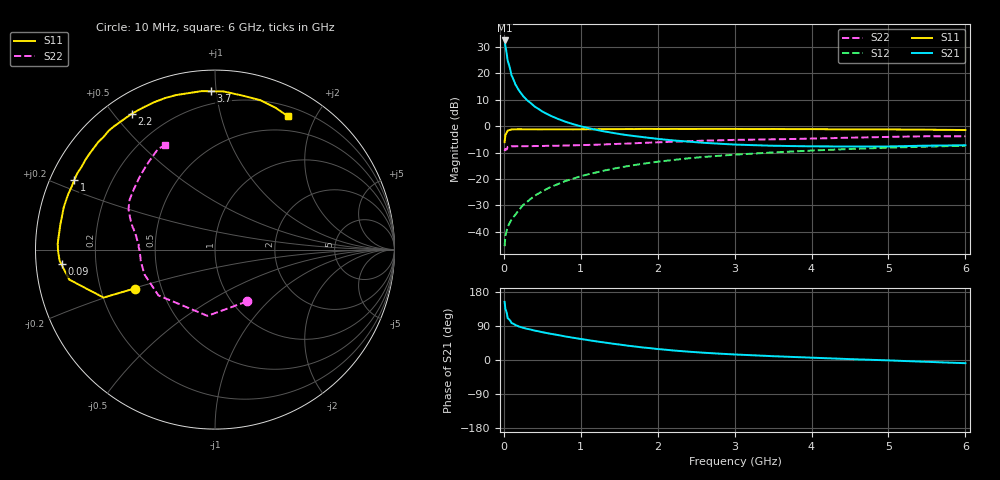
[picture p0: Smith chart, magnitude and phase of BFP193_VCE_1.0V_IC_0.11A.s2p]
! Infineon Technologies  Discrete & RF Semiconductors
! BFP193
! VCE =  1.0 V,  IC = 0.11 A
! Common Emitter S-Parameters:  Jan 2017
# GHz  S  MA  R  50
!  f  S11  S21  S12  S22
! GHz  MAG  ANG  MAG  ANG  MAG  ANG  MAG  ANG
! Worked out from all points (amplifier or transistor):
!   77 points, 10 MHz to 6 GHz, reference 50 ohm
!   highest |S21| = 32.5 dB at 10 MHz (marker M1)
!   |S21| within 3 dB of that: start of sweep to 26.09 MHz
!   unconditionally stable (mu >= 1): start of sweep to 18.87 MHz; 120.2 MHz to end of sweep
!   at 130 MHz: K = 1.03, MAG = 24.9 dB, |S12| = -34.3 dB
!   at 2.2 GHz: K = 1.10, MAG = 1.8 dB, |S12| = -12.8 dB
!   at 6 GHz: K = 1.08, MAG = -1.6 dB, |S12| = -7.4 dB
!   S11 on the Smith chart (normalised r, x): 10 MHz: 0.35, -0.20; 90 MHz: 0.08, -0.05; 1 GHz: 0.07, +0.23; 2.2 GHz: 0.08, +0.56; 3.7 GHz: 0.12, +0.97; 6 GHz: 0.31, +1.65
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0.01  0.498 -154.2  42.34 153.4  0.0053 56.6  0.3391 -58.5
0.02  0.6755 -156.7  33.65 134.9  0.0082 53.1  0.3717 -96.5
0.05  0.8294 -168.4  17.48 110.2  0.0123 44.2  0.4057 -141.0
0.09  0.8591 -174.5  10.82 101.6  0.0159 52.6  0.4103 -156.7
0.1  0.868 -175.9  9.231 97.6  0.0169 54.1  0.4162 -160.5
0.15  0.8745 -179.5  6.22 92.2  0.0209 60.3  0.4166 -167.5
0.2  0.8768 178.0  4.678 88.1  0.0261 64.8  0.4184 -171.4
0.25  0.8748 175.8  3.746 85.0  0.0319 65.5  0.4177 -173.8
0.3  0.8732 174.0  3.13 82.4  0.0364 67.7  0.4182 -175.9
0.4  0.873 170.7  2.365 77.6  0.0477 69.8  0.4199 -178.3
0.5  0.8723 167.5  1.9 73.4  0.058 69.9  0.4216 179.7
0.7  0.8743 162.0  1.382 66.0  0.0793 69.5  0.4258 176.4
1  0.8748 153.6  0.997 55.5  0.1125 65.9  0.4381 172.6
1.1  0.8771 151.0  0.921 52.4  0.1227 64.7  0.4418 171.5
1.6  0.8841 137.3  0.678 38.1  0.1738 57.1  0.468 165.8
2.1  0.886 124.0  0.556 27.2  0.2201 49.0  0.501 160.2
2.2  0.8878 121.4  0.538 25.2  0.2286 47.5  0.508 159.0
3.1  0.8857 102.3  0.444 13.7  0.294 33.3  0.5526 148.6
3.7  0.8825 91.6  0.421 8.5  0.3286 25.1  0.5702 140.4
4.1  0.8789 85.3  0.414 5.4  0.35 19.8  0.5864 134.7
5.1  0.8669 71.9  0.416 -1.8  0.3948 7.5  0.6305 122.5
6  0.8465 61.2  0.435 -8.4  0.4272 -2.8  0.6434 115.5
